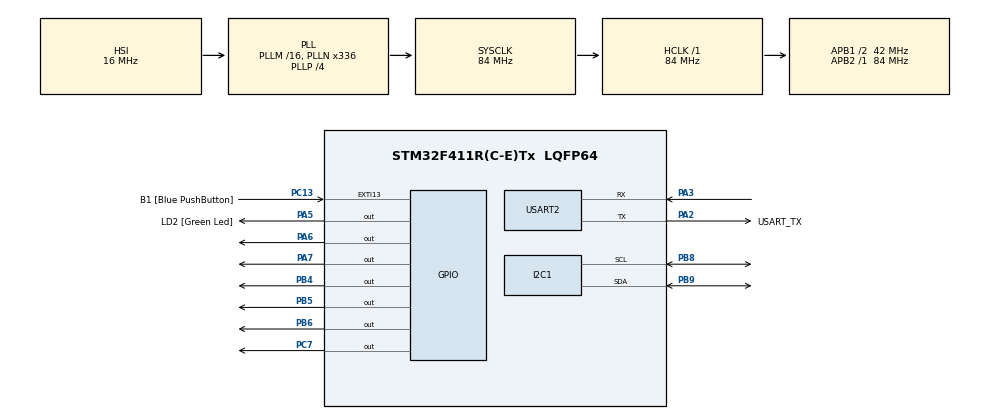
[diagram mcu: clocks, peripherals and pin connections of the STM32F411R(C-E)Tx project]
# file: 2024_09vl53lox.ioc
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Mcu.Family=STM32F4
Mcu.Name=STM32F411R(C-E)Tx
Mcu.Package=LQFP64
NVIC.PriorityGroup=NVIC_PRIORITYGROUP_0
PA13.GPIO_Label=TMS
PA13.Mode=Serial_Wire
PA13.Signal=SYS_JTMS-SWDIO
PA14.GPIO_Label=TCK
PA14.Mode=Serial_Wire
PA14.Signal=SYS_JTCK-SWCLK
PA2.GPIO_Label=USART_TX
PA2.Mode=Asynchronous
PA2.Signal=USART2_TX
PA3.Mode=Asynchronous
PA3.Signal=USART2_RX
PA5.GPIO_Label=LD2 [Green Led]
PA5.Signal=GPIO_Output
PA6.Signal=GPIO_Output
PA7.Signal=GPIO_Output
PB3.GPIO_Label=SWO
PB3.Signal=SYS_JTDO-SWO
PB4.Signal=GPIO_Output
PB5.Signal=GPIO_Output
PB6.Signal=GPIO_Output
PB8.Mode=I2C
PB8.Signal=I2C1_SCL
PB9.Mode=I2C
PB9.Signal=I2C1_SDA
PC13-ANTI_TAMP.GPIO_Label=B1 [Blue PushButton]
PC13-ANTI_TAMP.GPIO_ModeDefaultEXTI=GPIO_MODE_IT_FALLING
PC13-ANTI_TAMP.Signal=GPXTI13
PC14-OSC32_IN.Mode=LSE-External-Oscillator
PC14-OSC32_IN.Signal=RCC_OSC32_IN
PC15-OSC32_OUT.Mode=LSE-External-Oscillator
PC15-OSC32_OUT.Signal=RCC_OSC32_OUT
PC7.Signal=GPIO_Output
PH0\ -\ OSC_IN.Mode=HSE-External-Clock-Source
PH0\ -\ OSC_IN.Signal=RCC_OSC_IN
PH1\ -\ OSC_OUT.Mode=HSE-External-Clock-Source
PH1\ -\ OSC_OUT.Signal=RCC_OSC_OUT
ProjectManager.HeapSize=0x200
ProjectManager.StackSize=0x400
ProjectManager.TargetToolchain=STM32CubeIDE
RCC.48MHZClocksFreq_Value=84000000
RCC.AHBFreq_Value=84000000
RCC.APB1CLKDivider=RCC_HCLK_DIV2
RCC.APB1Freq_Value=42000000
RCC.APB1TimFreq_Value=84000000
RCC.APB2Freq_Value=84000000
RCC.APB2TimFreq_Value=84000000
RCC.CortexFreq_Value=84000000
RCC.FLatency-AdvancedSettings=FLASH_LATENCY_2
RCC.HCLKFreq_Value=84000000
RCC.HSE_VALUE=8000000
RCC.HSI_VALUE=16000000
RCC.PLLN=336
RCC.PLLP=RCC_PLLP_DIV4
RCC.SYSCLKFreq_VALUE=84000000
RCC.SYSCLKSource=RCC_SYSCLKSOURCE_PLLCLK
RCC.VCOOutputFreq_Value=336000000
USART2.VirtualMode=VM_ASYNC
board=NUCLEO-F411RE

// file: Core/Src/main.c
/* USER CODE BEGIN Header */
/**
 ******************************************************************************
 * @file           : main.c
 * @brief          : Main program body
 ******************************************************************************
 * @attention
 *
 * <h2><center>&copy; Copyright (c) 2021 STMicroelectronics.
 * All rights reserved.</center></h2>
 *
 * This software component is licensed by ST under BSD 3-Clause license,
 * the "License"; You may not use this file except in compliance with the
 * License. You may obtain a copy of the License at:
 *                        opensource.org/licenses/BSD-3-Clause
 *
 ******************************************************************************
 */
/* USER CODE END Header */
#include "main.h"

/* USER CODE BEGIN Includes */
#include "VL53L0X.h"
#include "stdio.h"
#include "lcd.h"

/* USER CODE END Includes */

I2C_HandleTypeDef hi2c1;

UART_HandleTypeDef huart2;

/* USER CODE BEGIN PV */
uint32_t time;
/* USER CODE END PV */

void SystemClock_Config(void);
static void MX_GPIO_Init(void);
static void MX_USART2_UART_Init(void);
static void MX_I2C1_Init(void);

int main(void)
{

  /* MCU Configuration--------------------------------------------------------*/

  /* Reset of all peripherals, Initializes the Flash interface and the Systick. */
  HAL_Init();

  /* Configure the system clock */
  SystemClock_Config();

  /* Initialize all configured peripherals */
  MX_GPIO_Init();
  MX_USART2_UART_Init();
  MX_I2C1_Init();
  /* USER CODE BEGIN 2 */

	// Initialise a message buffer.
	char msgBuffer[52];
	for (uint8_t i = 0; i < 52; i++) {
		msgBuffer[i] = ' ';
	}

	// Initialise the VL53L0X
	statInfo_t_VL53L0X distanceStr;
	initVL53L0X(1, &hi2c1);

	// Configure the sensor for high accuracy and speed in 20 cm.
	setSignalRateLimit(200);
	setVcselPulsePeriod(VcselPeriodPreRange, 10);
	setVcselPulsePeriod(VcselPeriodFinalRange, 14);
	setMeasurementTimingBudget(300 * 1000UL);

	uint16_t distance;

	Lcd_PortType ports[] = { GPIOC, GPIOB, GPIOA, GPIOA };
		// Lcd_PinType pins[] = {D4_Pin, D5_Pin, D6_Pin, D7_Pin};
		Lcd_PinType pins[] = {GPIO_PIN_7, GPIO_PIN_6, GPIO_PIN_7, GPIO_PIN_6};
		Lcd_HandleTypeDef lcd;
		// Lcd_create(ports, pins, RS_GPIO_Port, RS_Pin, EN_GPIO_Port, EN_Pin, LCD_4_BIT_MODE);
		lcd = Lcd_create(ports, pins, GPIOB, GPIO_PIN_5, GPIOB, GPIO_PIN_4, LCD_4_BIT_MODE);
		Lcd_cursor(&lcd, 0,1);
			Lcd_string(&lcd, "Running Time ");

			Lcd_cursor(&lcd, 1,1);
						Lcd_string(&lcd, "Distance ");

  /* USER CODE END 2 */

  /* Infinite loop */
  /* USER CODE BEGIN WHILE */
	while (1) {

		time = HAL_GetTick();
				   Lcd_cursor(&lcd, 0,18);
				       Lcd_int(&lcd, time/1000);
		// uint16_t distance is the distance in millimeters.
		// statInfo_t_VL53L0X distanceStr is the statistics read from the sensor.
		distance = readRangeSingleMillimeters(&distanceStr);

		sprintf(msgBuffer, "Distance: %d\r\n", distance);

		HAL_UART_Transmit(&huart2, (uint8_t*) msgBuffer, sizeof(msgBuffer), 50);

		 Lcd_cursor(&lcd, 1,18);
						       Lcd_int(&lcd, distance);

    /* USER CODE END WHILE */

	}
}

void SystemClock_Config(void)
{
  RCC_OscInitTypeDef RCC_OscInitStruct = {0};
  RCC_ClkInitTypeDef RCC_ClkInitStruct = {0};

  /** Configure the main internal regulator output voltage
  */
  __HAL_RCC_PWR_CLK_ENABLE();
  __HAL_PWR_VOLTAGESCALING_CONFIG(PWR_REGULATOR_VOLTAGE_SCALE1);

  /** Initializes the RCC Oscillators according to the specified parameters
  * in the RCC_OscInitTypeDef structure.
  */
  RCC_OscInitStruct.OscillatorType = RCC_OSCILLATORTYPE_HSI;
  RCC_OscInitStruct.HSIState = RCC_HSI_ON;
  RCC_OscInitStruct.HSICalibrationValue = RCC_HSICALIBRATION_DEFAULT;
  RCC_OscInitStruct.PLL.PLLState = RCC_PLL_ON;
  RCC_OscInitStruct.PLL.PLLSource = RCC_PLLSOURCE_HSI;
  RCC_OscInitStruct.PLL.PLLM = 16;
  RCC_OscInitStruct.PLL.PLLN = 336;
  RCC_OscInitStruct.PLL.PLLP = RCC_PLLP_DIV4;
  RCC_OscInitStruct.PLL.PLLQ = 4;
  if (HAL_RCC_OscConfig(&RCC_OscInitStruct) != HAL_OK)
  {
    Error_Handler();
  }

  /** Initializes the CPU, AHB and APB buses clocks
  */
  RCC_ClkInitStruct.ClockType = RCC_CLOCKTYPE_HCLK|RCC_CLOCKTYPE_SYSCLK
                              |RCC_CLOCKTYPE_PCLK1|RCC_CLOCKTYPE_PCLK2;
  RCC_ClkInitStruct.SYSCLKSource = RCC_SYSCLKSOURCE_PLLCLK;
  RCC_ClkInitStruct.AHBCLKDivider = RCC_SYSCLK_DIV1;
  RCC_ClkInitStruct.APB1CLKDivider = RCC_HCLK_DIV2;
  RCC_ClkInitStruct.APB2CLKDivider = RCC_HCLK_DIV1;

  if (HAL_RCC_ClockConfig(&RCC_ClkInitStruct, FLASH_LATENCY_2) != HAL_OK)
  {
    Error_Handler();
  }
}

static void MX_I2C1_Init(void)
{

  hi2c1.Instance = I2C1;
  hi2c1.Init.ClockSpeed = 100000;
  hi2c1.Init.DutyCycle = I2C_DUTYCYCLE_2;
  hi2c1.Init.OwnAddress1 = 0;
  hi2c1.Init.AddressingMode = I2C_ADDRESSINGMODE_7BIT;
  hi2c1.Init.DualAddressMode = I2C_DUALADDRESS_DISABLE;
  hi2c1.Init.OwnAddress2 = 0;
  hi2c1.Init.GeneralCallMode = I2C_GENERALCALL_DISABLE;
  hi2c1.Init.NoStretchMode = I2C_NOSTRETCH_DISABLE;
  if (HAL_I2C_Init(&hi2c1) != HAL_OK)
  {
    Error_Handler();
  }

}

static void MX_USART2_UART_Init(void)
{

  huart2.Instance = USART2;
  huart2.Init.BaudRate = 115200;
  huart2.Init.WordLength = UART_WORDLENGTH_8B;
  huart2.Init.StopBits = UART_STOPBITS_1;
  huart2.Init.Parity = UART_PARITY_NONE;
  huart2.Init.Mode = UART_MODE_TX_RX;
  huart2.Init.HwFlowCtl = UART_HWCONTROL_NONE;
  huart2.Init.OverSampling = UART_OVERSAMPLING_16;
  if (HAL_UART_Init(&huart2) != HAL_OK)
  {
    Error_Handler();
  }

}

static void MX_GPIO_Init(void)
{
  GPIO_InitTypeDef GPIO_InitStruct = {0};

  /* GPIO Ports Clock Enable */
  __HAL_RCC_GPIOC_CLK_ENABLE();
  __HAL_RCC_GPIOH_CLK_ENABLE();
  __HAL_RCC_GPIOA_CLK_ENABLE();
  __HAL_RCC_GPIOB_CLK_ENABLE();

  /*Configure GPIO pin Output Level */
  HAL_GPIO_WritePin(GPIOA, LD2_Pin|GPIO_PIN_6|GPIO_PIN_7, GPIO_PIN_RESET);

  /*Configure GPIO pin Output Level */
  HAL_GPIO_WritePin(GPIOC, GPIO_PIN_7, GPIO_PIN_RESET);

  /*Configure GPIO pin Output Level */
  HAL_GPIO_WritePin(GPIOB, GPIO_PIN_4|GPIO_PIN_5|GPIO_PIN_6, GPIO_PIN_RESET);

  /*Configure GPIO pin : B1_Pin */
  GPIO_InitStruct.Pin = B1_Pin;
  GPIO_InitStruct.Mode = GPIO_MODE_IT_FALLING;
  GPIO_InitStruct.Pull = GPIO_NOPULL;
  HAL_GPIO_Init(B1_GPIO_Port, &GPIO_InitStruct);

  /*Configure GPIO pins : LD2_Pin PA6 PA7 */
  GPIO_InitStruct.Pin = LD2_Pin|GPIO_PIN_6|GPIO_PIN_7;
  GPIO_InitStruct.Mode = GPIO_MODE_OUTPUT_PP;
  GPIO_InitStruct.Pull = GPIO_NOPULL;
  GPIO_InitStruct.Speed = GPIO_SPEED_FREQ_LOW;
  HAL_GPIO_Init(GPIOA, &GPIO_InitStruct);

  /*Configure GPIO pin : PC7 */
  GPIO_InitStruct.Pin = GPIO_PIN_7;
  GPIO_InitStruct.Mode = GPIO_MODE_OUTPUT_PP;
  GPIO_InitStruct.Pull = GPIO_NOPULL;
  GPIO_InitStruct.Speed = GPIO_SPEED_FREQ_LOW;
  HAL_GPIO_Init(GPIOC, &GPIO_InitStruct);

  /*Configure GPIO pins : PB4 PB5 PB6 */
  GPIO_InitStruct.Pin = GPIO_PIN_4|GPIO_PIN_5|GPIO_PIN_6;
  GPIO_InitStruct.Mode = GPIO_MODE_OUTPUT_PP;
  GPIO_InitStruct.Pull = GPIO_NOPULL;
  GPIO_InitStruct.Speed = GPIO_SPEED_FREQ_LOW;
  HAL_GPIO_Init(GPIOB, &GPIO_InitStruct);

}

void Error_Handler(void)
{
	__disable_irq();
	while (1) {
	}
}
